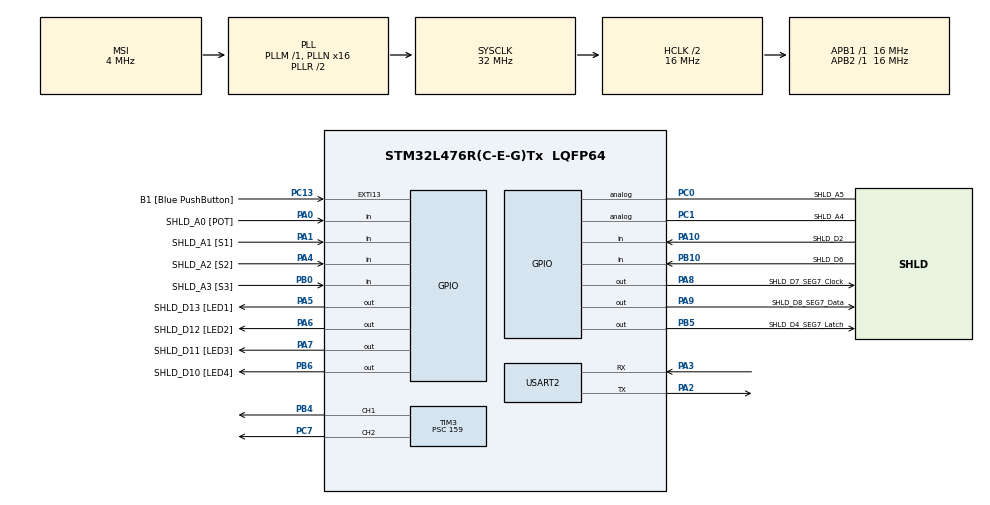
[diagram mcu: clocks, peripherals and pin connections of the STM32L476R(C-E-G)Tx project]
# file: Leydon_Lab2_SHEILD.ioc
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Mcu.Family=STM32L4
Mcu.Name=STM32L476R(C-E-G)Tx
Mcu.Package=LQFP64
NVIC.PriorityGroup=NVIC_PRIORITYGROUP_4
NVIC.TIM2_IRQn=true\:0\:0\:false\:false\:true\:true\:true\:true
NVIC.TIM3_IRQn=true\:0\:0\:false\:false\:true\:true\:true\:true
NVIC.USART2_IRQn=true\:0\:0\:false\:false\:true\:true\:true\:true
PA0.GPIO_Label=SHLD_A0 [POT]
PA0.Signal=GPIO_Input
PA1.GPIO_Label=SHLD_A1 [S1]
PA1.GPIO_PuPd=GPIO_PULLUP
PA1.Signal=GPIO_Input
PA10.GPIO_Label=SHLD_D2
PA10.Signal=GPIO_Input
PA13\ (JTMS-SWDIO).GPIO_Label=TMS
PA13\ (JTMS-SWDIO).Mode=Serial_Wire
PA13\ (JTMS-SWDIO).Signal=SYS_JTMS-SWDIO
PA14\ (JTCK-SWCLK).GPIO_Label=TCK
PA14\ (JTCK-SWCLK).Mode=Serial_Wire
PA14\ (JTCK-SWCLK).Signal=SYS_JTCK-SWCLK
PA2.Mode=Asynchronous
PA2.Signal=USART2_TX
PA3.Mode=Asynchronous
PA3.Signal=USART2_RX
PA4.GPIO_Label=SHLD_A2 [S2]
PA4.GPIO_PuPd=GPIO_PULLUP
PA4.Signal=GPIO_Input
PA5.GPIO_Label=SHLD_D13 [LED1]
PA5.PinState=GPIO_PIN_SET
PA5.Signal=GPIO_Output
PA6.GPIO_Label=SHLD_D12 [LED2]
PA6.PinState=GPIO_PIN_SET
PA6.Signal=GPIO_Output
PA7.GPIO_Label=SHLD_D11 [LED3]
PA7.PinState=GPIO_PIN_SET
PA7.Signal=GPIO_Output
PA8.GPIO_Label=SHLD_D7_SEG7_Clock
PA8.PinState=GPIO_PIN_SET
PA8.Signal=GPIO_Output
PA9.GPIO_Label=SHLD_D8_SEG7_Data
PA9.GPIO_ModeDefaultOutputPP=GPIO_MODE_OUTPUT_PP
PA9.GPIO_Speed=GPIO_SPEED_FREQ_MEDIUM
PA9.PinState=GPIO_PIN_SET
PA9.Signal=GPIO_Output
PB0.GPIO_Label=SHLD_A3 [S3]
PB0.GPIO_PuPd=GPIO_PULLUP
PB0.Signal=GPIO_Input
PB10.GPIO_Label=SHLD_D6
PB10.Signal=GPIO_Input
PB3\ (JTDO-TRACESWO).Signal=SYS_JTDO-SWO
PB4\ (NJTRST).Signal=S_TIM3_CH1
PB5.GPIO_Label=SHLD_D4_SEG7_Latch
PB5.GPIO_Speed=GPIO_SPEED_FREQ_HIGH
PB5.PinState=GPIO_PIN_SET
PB5.Signal=GPIO_Output
PB6.GPIO_FM6=__NULL
PB6.GPIO_Label=SHLD_D10 [LED4]
PB6.PinState=GPIO_PIN_SET
PB6.Signal=GPIO_Output
PB8.GPIO_Label=SHLD_D15
PB8.Signal=I2C1_SCL
PB9.GPIO_Label=SHLD_D14
PB9.Signal=I2C1_SDA
PC0.GPIO_Label=SHLD_A5
PC0.Signal=GPIO_Analog
PC1.GPIO_Label=SHLD_A4
PC1.Signal=SharedAnalog_PC1
PC13.GPIO_Label=B1 [Blue PushButton]
PC13.GPIO_ModeDefaultEXTI=GPIO_MODE_IT_FALLING
PC13.GPIO_PuPd=GPIO_NOPULL
PC13.Signal=GPXTI13
PC14-OSC32_IN\ (PC14).Mode=LSE-External-Oscillator
PC14-OSC32_IN\ (PC14).Signal=RCC_OSC32_IN
PC15-OSC32_OUT\ (PC15).Mode=LSE-External-Oscillator
PC15-OSC32_OUT\ (PC15).Signal=RCC_OSC32_OUT
PC7.Signal=S_TIM3_CH2
PH0-OSC_IN\ (PH0).Signal=RCC_OSC_IN
PH1-OSC_OUT\ (PH1).Signal=RCC_OSC_OUT
ProjectManager.HeapSize=0x200
ProjectManager.StackSize=0x400
ProjectManager.TargetToolchain=STM32CubeIDE
RCC.ADCFreq_Value=16000000
RCC.AHBCLKDivider=RCC_SYSCLK_DIV2
RCC.AHBFreq_Value=16000000
RCC.APB1Freq_Value=16000000
RCC.APB1TimFreq_Value=16000000
RCC.APB2Freq_Value=16000000
RCC.APB2TimFreq_Value=16000000
RCC.CortexFreq_Value=16000000
RCC.HCLKFreq_Value=16000000
RCC.HSE_VALUE=8000000
RCC.HSI_VALUE=16000000
RCC.MSI_VALUE=4000000
RCC.PLLN=16
RCC.PREFETCH_ENABLE=1
RCC.SYSCLKFreq_VALUE=32000000
RCC.SYSCLKSource=RCC_SYSCLKSOURCE_PLLCLK
RCC.USBFreq_Value=16000000
RCC.VCOOutputFreq_Value=64000000
SH.S_TIM3_CH1.0=TIM3_CH1,PWM Generation1 CH1
SH.S_TIM3_CH2.0=TIM3_CH2,PWM Generation2 CH2
SH.SharedAnalog_PC1.0=GPIO_Analog
SH.SharedAnalog_PC1.1=ADC1_IN2
TIM2.Period=100
TIM2.Prescaler=15999
TIM3.Channel-PWM\ Generation1\ CH1=TIM_CHANNEL_1
TIM3.Channel-PWM\ Generation2\ CH2=TIM_CHANNEL_2
TIM3.Period=2000
TIM3.Prescaler=159
TIM3.Pulse-PWM\ Generation1\ CH1=110
TIM3.Pulse-PWM\ Generation2\ CH2=110
USART2.VirtualMode-Asynchronous=VM_ASYNC
VP_TIM2_VS_ClockSourceINT.Mode=Internal
VP_TIM3_VS_ClockSourceINT.Mode=Internal
board=NUCLEO-L476RG

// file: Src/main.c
/* USER CODE BEGIN Header */
/**
  ******************************************************************************
  * @file           : main.c
  * @brief          : Main program body
  ******************************************************************************
  * @attention
  *
  * Copyright (c) 2023 STMicroelectronics.
  * All rights reserved.
  *
  * This software is licensed under terms that can be found in the LICENSE file
  * in the root directory of this software component.
  * If no LICENSE file comes with this software, it is provided AS-IS.
  *
  ******************************************************************************
  */
/* USER CODE END Header */
#include "main.h"

/* USER CODE BEGIN Includes */
#include <stdio.h>
#include <stdlib.h>
#include <string.h>
#include "Servo_enums.h"
#include "SERVO.h"
/* USER CODE END Includes */

/* USER CODE BEGIN PD */
#define MOV 		(0b00100000)
#define WAIT 		(0b01000000)
#define LOOP 		(0b10000000)
#define END_LOOP 	(0b10100000)
#define RECIPE_END 	(0b00000000)
#define INVALID_COMMAND	(0b11000000)

#define PRINT_INDEX	  (0b11100000)
#define PRINT_OPTIONS (0b01100000)

#define SERVO_MOTOR1	(0)
#define SERVO_MOTOR2	(1)
#define SERVO1_PIN		(56)
#define SERVO2_PIN 		(38)

#define DATA_SIZE		(200)
#define CMD_BUFFER_SIZE (10)
/* USER CODE END PD */

TIM_HandleTypeDef htim2;
TIM_HandleTypeDef htim3;

UART_HandleTypeDef huart2;

/* USER CODE BEGIN PV */
uint8_t loop_flag = 0;
uint8_t Rx_data = 0;
uint8_t Rx_command[10] = {0};
uint8_t Rx_idx = 0;

// define recipes
unsigned char recipe_test_default[] = {
	MOV+0, // There must NOT be intervening instructions in this group to allow
	MOV+5, // verification of default time delay.
	MOV+0,
	MOV+3,
	LOOP+0, //Test the default loop behavior.
	MOV+1,
	MOV+4,
	END_LOOP,
	MOV+0,
	MOV+2,
	WAIT+0,
	MOV+3, // Move to an adjacent position to verify
	WAIT+0,
	MOV+2,
	MOV+3, // Measure the timing precision of the 9.3 second delay with an external
	WAIT+31, // timer.
	WAIT+31,
	WAIT+31,
	MOV+4,
	RECIPE_END
};
unsigned char recipe_test_all_possible_positions[] = {
    MOV+0,
	WAIT+10,
	MOV+1,
	WAIT+10,
	MOV+2,
	WAIT+10,
	MOV+3,
	WAIT+10,
	MOV+4,
	WAIT+10,
	MOV+5,
	RECIPE_END
};

unsigned char recipe_test_command_error[] = {
    INVALID_COMMAND,
	RECIPE_END
};

unsigned char recipe_test_command_error2[] = {
    MOV+17,
	RECIPE_END
};

unsigned char recipe_test_nested_loop_error[] = {
    LOOP+0,
	LOOP+0,
	END_LOOP,
	END_LOOP,
	RECIPE_END
};

unsigned char recipe_test_verify_continue_override[] = {
	MOV+0,
	MOV+5,
	MOV+0,
	MOV+3,
	MOV+0,
	WAIT+0,
	MOV+5,
	WAIT+0,
	MOV+2,
	MOV+0,
	RECIPE_END,
	MOV+5, // mov after recipe end
};

unsigned char recipe_test_deliberate_error_verify_mov[] = {
	MOV+0,
	MOV+5,
	MOV+2,
	MOV+0,
	MOV+5,
	MOV+12, // deliberate error
	MOV+0,
	RECIPE_END,
};
unsigned char recipe_test_graduate_opcodes[] = {
	MOV+0,
	MOV+5,
	PRINT_INDEX,
	WAIT+10,
	MOV+0,
	MOV+5,
	PRINT_OPTIONS,
	RECIPE_END,
};

/* USER CODE END PV */

void SystemClock_Config(void);
static void MX_GPIO_Init(void);
static void MX_TIM2_Init(void);
static void MX_TIM3_Init(void);
static void MX_USART2_UART_Init(void);

/* USER CODE BEGIN PFP */

// standardized clock period for while loop
void HAL_TIM_PeriodElapsedCallback (TIM_HandleTypeDef *htim) {
	if (htim->Instance == TIM2) {
		loop_flag = 1;
	}
}

// called to retrieve character input
// simply stores data and repeats character
void HAL_UART_RxCpltCallback(UART_HandleTypeDef *huart){
	HAL_UART_Receive_IT(&huart2, &Rx_data, 1);
	if(Rx_data == 'x' || Rx_data == 'X'){
		Rx_idx = 0;
		memset(Rx_command, 0, sizeof(Rx_command[0]) * CMD_BUFFER_SIZE); // wipe Rx_command
		uint8_t message[DATA_SIZE] = "\r\n >";
		HAL_UART_Transmit(&huart2, message, DATA_SIZE, HAL_MAX_DELAY);
		return;
	}
	else{
		Rx_command[Rx_idx] = Rx_data;
		Rx_idx++;
		HAL_UART_Transmit(&huart2, &Rx_data, 1, HAL_MAX_DELAY);
		return;
	}
}

// reads and validates the user input commands
void read_user_command(SERVO_Cfg* SERVO_1, SERVO_Cfg* SERVO_2){
	if(Rx_idx < 3){ // all valid commands are "char,char,\r"
		return;
	}
	else if(Rx_idx > 3 || Rx_command[2] != '\r'){
		Rx_idx = 0;
		memset(Rx_command, 0, sizeof(Rx_command[0]) * CMD_BUFFER_SIZE); // wipe Rx_command
		uint8_t message[DATA_SIZE] = " - invalid entry, please try again. Use command 'O' or 'o' for more command options\r\n >"; // right now just exits
		HAL_UART_Transmit(&huart2, message, DATA_SIZE, HAL_MAX_DELAY);
		return;
	}
	// 2 char and '\r', exactly 3
	// Rx_command could be overwritten from interrupt, so we store
	uint8_t command_1 = Rx_command[0];
	uint8_t command_2 = Rx_command[1];

	Rx_idx = 0;
	memset(Rx_command, 0, sizeof(Rx_command[0]) * CMD_BUFFER_SIZE); // wipe Rx_command

	uint8_t message[DATA_SIZE] = "\r\n >";
	HAL_UART_Transmit(&huart2, message, DATA_SIZE, HAL_MAX_DELAY);

	process_user_command(command_1, SERVO_1);
	process_user_command(command_2, SERVO_2);
	return;

}

// Code to start the move (adjust PWM) and start the timing delay based on the
// current position.
static void start_move(SERVO_Cfg* SERVO,  unsigned char position )
{
	// position out of valid range
	if(position > 5 || position < 0){
		SERVO->SERVO_STATUS = status_command_error;
		process_status_led(status_command_error, SERVO);
		return;
	}
	SERVO->SERVO_POSITION_GOAL = position;
	int8_t difference = abs(SERVO->SERVO_POSITION_GOAL - SERVO->SERVO_POSITION);
	switch(difference){
	case(0): // no change in position
			SERVO->SERVO_COUNT_MOVE = 0; // may have been in motion when this occurred
			SERVO->SERVO_STATE = state_at_position;
            if(SERVO->SERVO_STATUS != status_paused) {
                SERVO->INDEX++; // look at next move
            }
			return;
			break;
	case(1):
		SERVO->SERVO_COUNT_MOVE = 1; //54 ms
		break;
	case(2):
		SERVO->SERVO_COUNT_MOVE = 2; //108 ms
		break;
	case(3):
		SERVO->SERVO_COUNT_MOVE = 2; //160 ms
		break;
	case(4):
		SERVO->SERVO_COUNT_MOVE = 3; //216 ms
		break;
	case(5):
		SERVO->SERVO_COUNT_MOVE = 3; //270 ms
		break;
	}

	SERVO->SERVO_STATE = state_moving;
	__HAL_TIM_SET_COMPARE(&htim3, SERVO->PWM_TIM_CH, 110+position*18); //out of 2000, 1 = 0.01 ms
}

static void start_loop(SERVO_Cfg* SERVO,  unsigned char loop){
	if(SERVO->LOOP_FLAG != 0){
		SERVO->SERVO_STATUS = status_nested_error; // nested error
		process_status_led(status_nested_error, SERVO);
		return;
	}
	SERVO->LOOP_FLAG = 1;// in a loop
	SERVO->LOOP_START = SERVO->INDEX;
	SERVO->SERVO_COUNT_LOOP = loop; // 5 LSB
	SERVO->INDEX++;
	SERVO->SERVO_STATE = state_at_position; // I should not need this
	return;
}

static void start_end_loop(SERVO_Cfg* SERVO){
	if(SERVO->SERVO_COUNT_LOOP !=0){
		SERVO->SERVO_COUNT_LOOP--;
		SERVO->INDEX = SERVO->LOOP_START +1; // one past loop start
	}
	else{
		SERVO->INDEX++;
		SERVO->LOOP_FLAG = 0; // no longer in loop
	}
}

static void start_wait(SERVO_Cfg* SERVO,  unsigned char wait){
	SERVO->SERVO_COUNT_WAIT = wait+1; // a wait of 0 is a wait of 1
	SERVO->SERVO_STATE = state_waiting;
}

static void end_recipe(SERVO_Cfg* SERVO){
	SERVO->SERVO_STATE = state_recipe_ended;
	SERVO->RECIPE_INDEX++; // GO TO NEXT RECIPE
	SERVO->SERVO_STATUS = status_paused;
	SERVO->INDEX = 0;
	process_status_led(status_paused, SERVO);
}

static void print_index(SERVO_Cfg* SERVO) {
	uint8_t rx_data[DATA_SIZE] = "";
	const char* which_servo = "";
	if(SERVO->SERVO_PIN == SERVO1_PIN) {
		which_servo = "servo1";
	} else if(SERVO->SERVO_PIN == SERVO2_PIN) {
		which_servo = "servo2";
	} else {
		which_servo = "unknown";
	}
	snprintf(rx_data, DATA_SIZE,"%s index: %u \r\n >", which_servo, SERVO->INDEX);
	HAL_UART_Transmit(&huart2, rx_data, DATA_SIZE, HAL_MAX_DELAY);
}

static void print_options(void) {
	uint8_t rx_data[DATA_SIZE] = "";
	snprintf(rx_data, DATA_SIZE,"P:Pause, C:Continue, R:Right, L:Left, N:NoOp, B:Begin, I:Index, O:Options \r\n >");
	HAL_UART_Transmit(&huart2, rx_data, DATA_SIZE, HAL_MAX_DELAY);
}

// execute functionality based on opcodes
void process_recipe(SERVO_Cfg* SERVO, unsigned char recipe[]){
	if(SERVO->SERVO_STATUS == status_running){
		switch(recipe[SERVO->INDEX]>>5){
			case(LOOP>>5): //4
				start_loop(SERVO, recipe[SERVO->INDEX] & 0b00011111);
				break;

			case(END_LOOP>>5): //5
				start_end_loop(SERVO);
				break;

			case(MOV>>5): //1
				start_move(SERVO, recipe[SERVO->INDEX] & 0b00011111); // 5 LSB
				break;

			case(WAIT>>5)://2
				start_wait(SERVO, recipe[SERVO->INDEX] & 0b00011111); // 5 LSB
				break;

			case(RECIPE_END>>5)://0
				end_recipe(SERVO);
				break;

			// GRAD OPCODES
			case(PRINT_INDEX>>5):
				print_index(SERVO);
				SERVO->INDEX++;
				break;

			case(PRINT_OPTIONS>>5):
				print_options();
				SERVO->INDEX++;
				break;

			default:
				SERVO->SERVO_STATUS = status_command_error;
				process_status_led(status_command_error, SERVO);
				break;
		}
	}
}

// decide what to do based on current servo state and status
void process_timestep(SERVO_Cfg* SERVO, unsigned char recipe[]){
	switch(SERVO->SERVO_STATE){
		case(state_moving):
			SERVO->SERVO_COUNT_MOVE--; // decrement the moving counter
			if(SERVO->SERVO_POSITION_GOAL > SERVO->SERVO_POSITION){
				SERVO->SERVO_POSITION++;
			}
			else if(SERVO->SERVO_POSITION_GOAL < SERVO->SERVO_POSITION){
				SERVO->SERVO_POSITION--;
			}
			if(SERVO->SERVO_COUNT_MOVE == 0){
				SERVO->SERVO_STATE = state_at_position; // Finally at position.
                if(SERVO->SERVO_STATUS != status_paused) {
                     SERVO->INDEX++;
                }
				process_recipe(SERVO, recipe);
			}
			break;

		case(state_at_position):
			process_recipe(SERVO, recipe); // go to next recipe state
			break;

		case(state_waiting):
			if(SERVO->SERVO_STATUS == status_paused){
				break;
			}
			SERVO->SERVO_COUNT_WAIT--; // decrement waiting counter
			if(SERVO->SERVO_COUNT_WAIT == 0){
				SERVO->SERVO_STATE = state_at_position; // at position, done waiting.
				SERVO->INDEX++; // go to next recipe
				process_recipe(SERVO, recipe); // process next recipe state
			}
			break;

		case(state_unknown):
			process_recipe(SERVO, recipe);
			break;

		case(state_recipe_ended):
			SERVO->SERVO_STATUS = status_paused;
			SERVO->SERVO_STATE = state_recipe_ended;
			SERVO->INDEX = 0;
			break;
	}
	process_status_led(SERVO->SERVO_STATUS, SERVO);
}

void process_status_led(enum status one_event, SERVO_Cfg* SERVO){
	if(SERVO->SERVO_PIN != SERVO1_PIN) {
		return;
	}
	switch(one_event){
		case(status_running):
			//
			HAL_GPIO_WritePin(SHLD_D13_GPIO_Port, SHLD_D13_Pin, GPIO_PIN_RESET);
			HAL_GPIO_WritePin(SHLD_D12_GPIO_Port, SHLD_D12_Pin, GPIO_PIN_SET);
			break;
		case(status_paused):
			//
			HAL_GPIO_WritePin(SHLD_D13_GPIO_Port, SHLD_D13_Pin, GPIO_PIN_SET);
			HAL_GPIO_WritePin(SHLD_D12_GPIO_Port, SHLD_D12_Pin, GPIO_PIN_SET);
			break;
		case(status_command_error):
			//
			HAL_GPIO_WritePin(SHLD_D13_GPIO_Port, SHLD_D13_Pin, GPIO_PIN_SET);
			HAL_GPIO_WritePin(SHLD_D12_GPIO_Port, SHLD_D12_Pin, GPIO_PIN_RESET);
			break;
		case(status_nested_error):
			//
			HAL_GPIO_WritePin(SHLD_D13_GPIO_Port, SHLD_D13_Pin, GPIO_PIN_RESET);
			HAL_GPIO_WritePin(SHLD_D12_GPIO_Port, SHLD_D12_Pin, GPIO_PIN_RESET);
			break;
	}
}

void process_user_command(uint8_t command, SERVO_Cfg* SERVO){
	if((command == 'P'|| command == 'p')&&
			(SERVO->SERVO_STATUS != status_command_error)&&
			(SERVO->SERVO_STATUS !=status_nested_error)&&
			(SERVO->SERVO_STATE != state_recipe_ended)){
		SERVO->SERVO_STATUS = status_paused;
		process_status_led(status_paused, SERVO);
	}
	else if((command == 'C'|| command == 'c')&&
			(SERVO->SERVO_STATUS != status_command_error)&&
			(SERVO->SERVO_STATUS !=status_nested_error)&&
			(SERVO->SERVO_STATE != state_recipe_ended)){
		SERVO->SERVO_STATUS = status_running;
		process_status_led(status_running, SERVO);
		}
	else if((command == 'L'|| command == 'l')&&
			(SERVO->SERVO_STATUS == status_paused)&&
			(SERVO->SERVO_POSITION != 5)){
		start_move(SERVO, SERVO->SERVO_POSITION+1);
	}
	else if((command == 'R'|| command == 'r')&&
			(SERVO->SERVO_STATUS == status_paused)&&
			(SERVO->SERVO_POSITION != 0)){
		start_move(SERVO, SERVO->SERVO_POSITION-1);
	}
	else if((command == 'B'|| command == 'b')){
		SERVO->SERVO_STATUS = status_running;
		SERVO->SERVO_STATE = state_unknown;
		process_status_led(status_running, SERVO);
		SERVO->INDEX = 0;

	}
	else if((command == 'I'|| command == 'i')){
		print_index(SERVO);
	}
	else if((command == 'O'|| command == 'o')){
		print_options();
	}

}

/* USER CODE END PFP */

int main(void)
{

  /* MCU Configuration--------------------------------------------------------*/

  /* Reset of all peripherals, Initializes the Flash interface and the Systick. */
  HAL_Init();

  /* Configure the system clock */
  SystemClock_Config();

  /* Initialize all configured peripherals */
  MX_GPIO_Init();
  MX_TIM2_Init();
  MX_TIM3_Init();
  MX_USART2_UART_Init();
  /* USER CODE BEGIN 2 */

  HAL_TIM_Base_Start_IT(&htim2); // Start timer.
  HAL_UART_Receive_IT (&huart2, &Rx_data, 1);

  SERVO_Cfg* servo1_p = &SERVO_Cfg_1;
  SERVO_Cfg* servo2_p = &SERVO_Cfg_2;

  /* USER CODE END 2 */

  /* Infinite loop */
  /* USER CODE BEGIN WHILE */

  // start in paused state
  process_status_led(status_paused, servo1_p);

  HAL_TIM_PWM_Start(&htim3, TIM_CHANNEL_1);   // Output PWM Generation
  HAL_TIM_PWM_Start(&htim3, TIM_CHANNEL_2);   // Output PWM Generation

  uint8_t rx_data[DATA_SIZE] = "\r\n > ";
  HAL_UART_Transmit(&huart2, rx_data, DATA_SIZE, HAL_MAX_DELAY);

  // 				demo tests
  // -----------------------------------------
  // [1]
  // recipe_test_all_possible_positions (...positioned to approximately 6 even...)
  //
  // [2]
  // recipe_test_default (...demonstrate all required undergrad op-codes...)
  //
  // [3]
  // For LED displaying testing, run recipe_test_default to
  // 	show 'Recipe Running (D1 only)' and 'Recipe Paused (all off)'
  // recipe_test_command_error ('Recipe Command Error (D2 on)')
  // recipe_test_command_error2 ( ^^^ )
  // recipe_test_nested_loop_error ('D1 and D2 both on')
  //
  // [4]
  // For showing user commands, can use any recipe. Prefer recipe_test_default.
  //
  // [5]
  // For showing independent operation can use any recipe on either.
  //	But prefer recipe_test_default on servo1
  // 	and recipe_test_all_possible_positions on servo2
  //
  // [6]
  // recipe_test_default contains the required recipe snippet for wait time
  //
  // [7]
  // recipe_test_graduate_opcodes
  //
  // [EXTRA]
  // recipe_test_verify_continue_override
  // recipe_test_deliberate_error_verify_mov

  while (1)
  {
	  loop_flag = 0;
	  process_timestep(servo1_p, recipe_test_graduate_opcodes);
	  process_timestep(servo2_p, recipe_test_default);
    read_user_command(servo1_p, servo2_p); // read user input
	  while(loop_flag == 0);

    /* USER CODE END WHILE */

  }
}

void SystemClock_Config(void)
{
  RCC_OscInitTypeDef RCC_OscInitStruct = {0};
  RCC_ClkInitTypeDef RCC_ClkInitStruct = {0};

  /** Configure the main internal regulator output voltage
  */
  if (HAL_PWREx_ControlVoltageScaling(PWR_REGULATOR_VOLTAGE_SCALE1) != HAL_OK)
  {
    Error_Handler();
  }

  /** Configure LSE Drive Capability
  */
  HAL_PWR_EnableBkUpAccess();
  __HAL_RCC_LSEDRIVE_CONFIG(RCC_LSEDRIVE_LOW);

  /** Initializes the RCC Oscillators according to the specified parameters
  * in the RCC_OscInitTypeDef structure.
  */
  RCC_OscInitStruct.OscillatorType = RCC_OSCILLATORTYPE_LSE|RCC_OSCILLATORTYPE_MSI;
  RCC_OscInitStruct.LSEState = RCC_LSE_ON;
  RCC_OscInitStruct.MSIState = RCC_MSI_ON;
  RCC_OscInitStruct.MSICalibrationValue = 0;
  RCC_OscInitStruct.MSIClockRange = RCC_MSIRANGE_6;
  RCC_OscInitStruct.PLL.PLLState = RCC_PLL_ON;
  RCC_OscInitStruct.PLL.PLLSource = RCC_PLLSOURCE_MSI;
  RCC_OscInitStruct.PLL.PLLM = 1;
  RCC_OscInitStruct.PLL.PLLN = 16;
  RCC_OscInitStruct.PLL.PLLP = RCC_PLLP_DIV7;
  RCC_OscInitStruct.PLL.PLLQ = RCC_PLLQ_DIV2;
  RCC_OscInitStruct.PLL.PLLR = RCC_PLLR_DIV2;
  if (HAL_RCC_OscConfig(&RCC_OscInitStruct) != HAL_OK)
  {
    Error_Handler();
  }

  /** Initializes the CPU, AHB and APB buses clocks
  */
  RCC_ClkInitStruct.ClockType = RCC_CLOCKTYPE_HCLK|RCC_CLOCKTYPE_SYSCLK
                              |RCC_CLOCKTYPE_PCLK1|RCC_CLOCKTYPE_PCLK2;
  RCC_ClkInitStruct.SYSCLKSource = RCC_SYSCLKSOURCE_PLLCLK;
  RCC_ClkInitStruct.AHBCLKDivider = RCC_SYSCLK_DIV2;
  RCC_ClkInitStruct.APB1CLKDivider = RCC_HCLK_DIV1;
  RCC_ClkInitStruct.APB2CLKDivider = RCC_HCLK_DIV1;

  if (HAL_RCC_ClockConfig(&RCC_ClkInitStruct, FLASH_LATENCY_0) != HAL_OK)
  {
    Error_Handler();
  }

  /** Enable MSI Auto calibration
  */
  HAL_RCCEx_EnableMSIPLLMode();
}

static void MX_TIM2_Init(void)
{

  TIM_ClockConfigTypeDef sClockSourceConfig = {0};
  TIM_MasterConfigTypeDef sMasterConfig = {0};

  htim2.Instance = TIM2;
  htim2.Init.Prescaler = 15999;
  htim2.Init.CounterMode = TIM_COUNTERMODE_UP;
  htim2.Init.Period = 100;
  htim2.Init.ClockDivision = TIM_CLOCKDIVISION_DIV1;
  htim2.Init.AutoReloadPreload = TIM_AUTORELOAD_PRELOAD_DISABLE;
  if (HAL_TIM_Base_Init(&htim2) != HAL_OK)
  {
    Error_Handler();
  }
  sClockSourceConfig.ClockSource = TIM_CLOCKSOURCE_INTERNAL;
  if (HAL_TIM_ConfigClockSource(&htim2, &sClockSourceConfig) != HAL_OK)
  {
    Error_Handler();
  }
  sMasterConfig.MasterOutputTrigger = TIM_TRGO_RESET;
  sMasterConfig.MasterSlaveMode = TIM_MASTERSLAVEMODE_DISABLE;
  if (HAL_TIMEx_MasterConfigSynchronization(&htim2, &sMasterConfig) != HAL_OK)
  {
    Error_Handler();
  }

}

static void MX_TIM3_Init(void)
{

  TIM_ClockConfigTypeDef sClockSourceConfig = {0};
  TIM_MasterConfigTypeDef sMasterConfig = {0};
  TIM_OC_InitTypeDef sConfigOC = {0};

  htim3.Instance = TIM3;
  htim3.Init.Prescaler = 159;
  htim3.Init.CounterMode = TIM_COUNTERMODE_UP;
  htim3.Init.Period = 2000;
  htim3.Init.ClockDivision = TIM_CLOCKDIVISION_DIV1;
  htim3.Init.AutoReloadPreload = TIM_AUTORELOAD_PRELOAD_DISABLE;
  if (HAL_TIM_Base_Init(&htim3) != HAL_OK)
  {
    Error_Handler();
  }
  sClockSourceConfig.ClockSource = TIM_CLOCKSOURCE_INTERNAL;
  if (HAL_TIM_ConfigClockSource(&htim3, &sClockSourceConfig) != HAL_OK)
  {
    Error_Handler();
  }
  if (HAL_TIM_PWM_Init(&htim3) != HAL_OK)
  {
    Error_Handler();
  }
  sMasterConfig.MasterOutputTrigger = TIM_TRGO_RESET;
  sMasterConfig.MasterSlaveMode = TIM_MASTERSLAVEMODE_DISABLE;
  if (HAL_TIMEx_MasterConfigSynchronization(&htim3, &sMasterConfig) != HAL_OK)
  {
    Error_Handler();
  }
  sConfigOC.OCMode = TIM_OCMODE_PWM1;
  sConfigOC.Pulse = 110;
  sConfigOC.OCPolarity = TIM_OCPOLARITY_HIGH;
  sConfigOC.OCFastMode = TIM_OCFAST_DISABLE;
  if (HAL_TIM_PWM_ConfigChannel(&htim3, &sConfigOC, TIM_CHANNEL_1) != HAL_OK)
  {
    Error_Handler();
  }
  if (HAL_TIM_PWM_ConfigChannel(&htim3, &sConfigOC, TIM_CHANNEL_2) != HAL_OK)
  {
    Error_Handler();
  }
  HAL_TIM_MspPostInit(&htim3);

}

static void MX_USART2_UART_Init(void)
{

  huart2.Instance = USART2;
  huart2.Init.BaudRate = 115200;
  huart2.Init.WordLength = UART_WORDLENGTH_8B;
  huart2.Init.StopBits = UART_STOPBITS_1;
  huart2.Init.Parity = UART_PARITY_NONE;
  huart2.Init.Mode = UART_MODE_TX_RX;
  huart2.Init.HwFlowCtl = UART_HWCONTROL_NONE;
  huart2.Init.OverSampling = UART_OVERSAMPLING_16;
  huart2.Init.OneBitSampling = UART_ONE_BIT_SAMPLE_DISABLE;
  huart2.AdvancedInit.AdvFeatureInit = UART_ADVFEATURE_NO_INIT;
  if (HAL_UART_Init(&huart2) != HAL_OK)
  {
    Error_Handler();
  }

}

static void MX_GPIO_Init(void)
{
  GPIO_InitTypeDef GPIO_InitStruct = {0};

  /* GPIO Ports Clock Enable */
  __HAL_RCC_GPIOC_CLK_ENABLE();
  __HAL_RCC_GPIOH_CLK_ENABLE();
  __HAL_RCC_GPIOA_CLK_ENABLE();
  __HAL_RCC_GPIOB_CLK_ENABLE();

  /*Configure GPIO pin Output Level */
  HAL_GPIO_WritePin(GPIOA, SHLD_D13_Pin|SHLD_D12_Pin|SHLD_D11_Pin|SHLD_D7_SEG7_Clock_Pin
                          |SHLD_D8_SEG7_Data_Pin, GPIO_PIN_SET);

  /*Configure GPIO pin Output Level */
  HAL_GPIO_WritePin(GPIOB, SHLD_D4_SEG7_Latch_Pin|SHLD_D10_Pin, GPIO_PIN_SET);

  /*Configure GPIO pin : B1_Pin */
  GPIO_InitStruct.Pin = B1_Pin;
  GPIO_InitStruct.Mode = GPIO_MODE_IT_FALLING;
  GPIO_InitStruct.Pull = GPIO_NOPULL;
  HAL_GPIO_Init(B1_GPIO_Port, &GPIO_InitStruct);

  /*Configure GPIO pins : SHLD_A5_Pin SHLD_A4_Pin */
  GPIO_InitStruct.Pin = SHLD_A5_Pin|SHLD_A4_Pin;
  GPIO_InitStruct.Mode = GPIO_MODE_ANALOG;
  GPIO_InitStruct.Pull = GPIO_NOPULL;
  HAL_GPIO_Init(GPIOC, &GPIO_InitStruct);

  /*Configure GPIO pins : SHLD_A0_Pin SHLD_D2_Pin */
  GPIO_InitStruct.Pin = SHLD_A0_Pin|SHLD_D2_Pin;
  GPIO_InitStruct.Mode = GPIO_MODE_INPUT;
  GPIO_InitStruct.Pull = GPIO_NOPULL;
  HAL_GPIO_Init(GPIOA, &GPIO_InitStruct);

  /*Configure GPIO pins : SHLD_A1_Pin SHLD_A2_Pin */
  GPIO_InitStruct.Pin = SHLD_A1_Pin|SHLD_A2_Pin;
  GPIO_InitStruct.Mode = GPIO_MODE_INPUT;
  GPIO_InitStruct.Pull = GPIO_PULLUP;
  HAL_GPIO_Init(GPIOA, &GPIO_InitStruct);

  /*Configure GPIO pins : SHLD_D13_Pin SHLD_D12_Pin SHLD_D11_Pin SHLD_D7_SEG7_Clock_Pin */
  GPIO_InitStruct.Pin = SHLD_D13_Pin|SHLD_D12_Pin|SHLD_D11_Pin|SHLD_D7_SEG7_Clock_Pin;
  GPIO_InitStruct.Mode = GPIO_MODE_OUTPUT_PP;
  GPIO_InitStruct.Pull = GPIO_NOPULL;
  GPIO_InitStruct.Speed = GPIO_SPEED_FREQ_LOW;
  HAL_GPIO_Init(GPIOA, &GPIO_InitStruct);

  /*Configure GPIO pin : SHLD_A3_Pin */
  GPIO_InitStruct.Pin = SHLD_A3_Pin;
  GPIO_InitStruct.Mode = GPIO_MODE_INPUT;
  GPIO_InitStruct.Pull = GPIO_PULLUP;
  HAL_GPIO_Init(SHLD_A3_GPIO_Port, &GPIO_InitStruct);

  /*Configure GPIO pin : SHLD_D6_Pin */
  GPIO_InitStruct.Pin = SHLD_D6_Pin;
  GPIO_InitStruct.Mode = GPIO_MODE_INPUT;
  GPIO_InitStruct.Pull = GPIO_NOPULL;
  HAL_GPIO_Init(SHLD_D6_GPIO_Port, &GPIO_InitStruct);

  /*Configure GPIO pin : SHLD_D8_SEG7_Data_Pin */
  GPIO_InitStruct.Pin = SHLD_D8_SEG7_Data_Pin;
  GPIO_InitStruct.Mode = GPIO_MODE_OUTPUT_PP;
  GPIO_InitStruct.Pull = GPIO_NOPULL;
  GPIO_InitStruct.Speed = GPIO_SPEED_FREQ_MEDIUM;
  HAL_GPIO_Init(SHLD_D8_SEG7_Data_GPIO_Port, &GPIO_InitStruct);

  /*Configure GPIO pin : SHLD_D4_SEG7_Latch_Pin */
  GPIO_InitStruct.Pin = SHLD_D4_SEG7_Latch_Pin;
  GPIO_InitStruct.Mode = GPIO_MODE_OUTPUT_PP;
  GPIO_InitStruct.Pull = GPIO_NOPULL;
  GPIO_InitStruct.Speed = GPIO_SPEED_FREQ_HIGH;
  HAL_GPIO_Init(SHLD_D4_SEG7_Latch_GPIO_Port, &GPIO_InitStruct);

  /*Configure GPIO pin : SHLD_D10_Pin */
  GPIO_InitStruct.Pin = SHLD_D10_Pin;
  GPIO_InitStruct.Mode = GPIO_MODE_OUTPUT_PP;
  GPIO_InitStruct.Pull = GPIO_NOPULL;
  GPIO_InitStruct.Speed = GPIO_SPEED_FREQ_LOW;
  HAL_GPIO_Init(SHLD_D10_GPIO_Port, &GPIO_InitStruct);

  /*Configure GPIO pins : SHLD_D15_Pin SHLD_D14_Pin */
  GPIO_InitStruct.Pin = SHLD_D15_Pin|SHLD_D14_Pin;
  GPIO_InitStruct.Mode = GPIO_MODE_AF_OD;
  GPIO_InitStruct.Pull = GPIO_NOPULL;
  GPIO_InitStruct.Speed = GPIO_SPEED_FREQ_VERY_HIGH;
  GPIO_InitStruct.Alternate = GPIO_AF4_I2C1;
  HAL_GPIO_Init(GPIOB, &GPIO_InitStruct);

}

void Error_Handler(void)
{
  __disable_irq();
  while (1)
  {
  }
}
